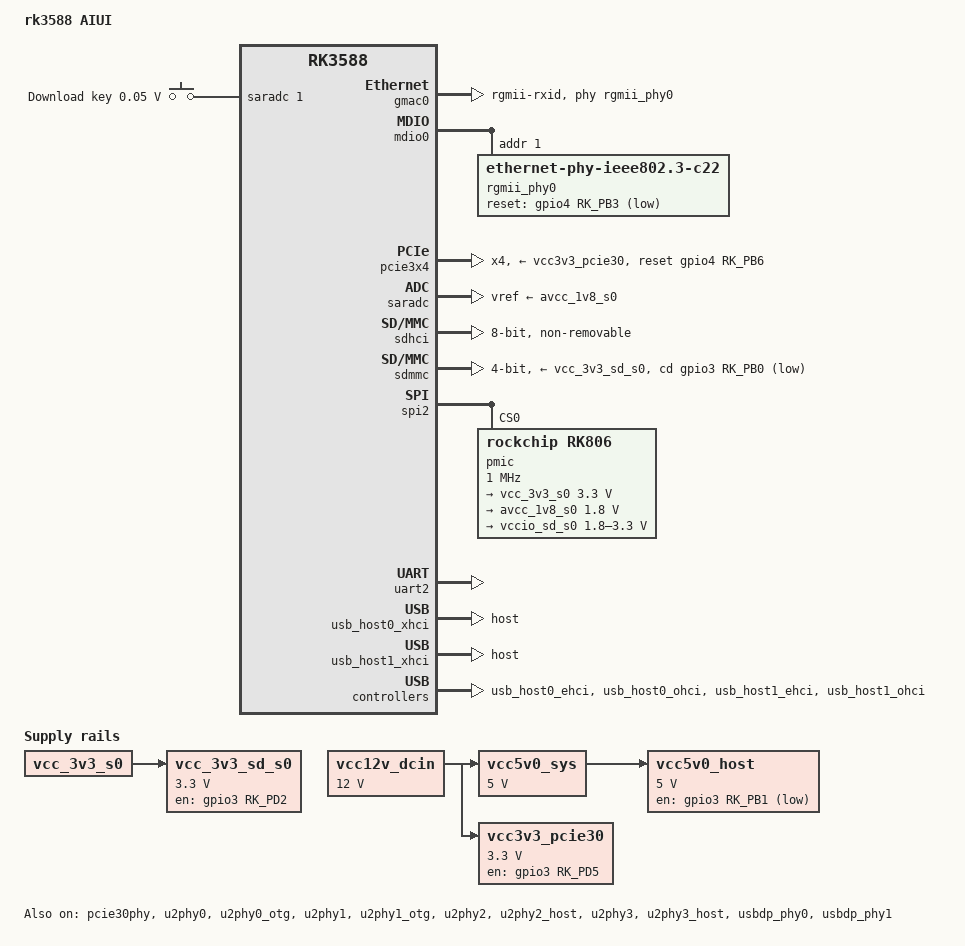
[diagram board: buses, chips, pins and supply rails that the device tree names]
// SPDX-License-Identifier: (GPL-2.0+ OR MIT)
/*
 * Board wiring translated from the factory LUNZN AIUI Android runtime DTB.
 * Boot-stage devices only; the OS loads its own complete board DTB.
 */
/dts-v1/;

#include <dt-bindings/gpio/gpio.h>
#include <dt-bindings/input/input.h>
#include <dt-bindings/pinctrl/rockchip.h>
#include "rk3588.dtsi"

/ {
	model = "rk3588 AIUI";
	compatible = "lunzn,aiui", "rockchip,rk3588";

	aliases {
		ethernet0 = &gmac0;
		mmc0 = &sdhci;
		mmc1 = &sdmmc;
	};

	chosen {
		stdout-path = "serial2:1500000n8";
	};

	adc-keys {
		compatible = "adc-keys";
		io-channels = <&saradc 1>;
		io-channel-names = "buttons";
		keyup-threshold-microvolt = <1800000>;
		poll-interval = <100>;

		download-key {
			label = "Download key";
			linux,code = <KEY_VOLUMEUP>;
			press-threshold-microvolt = <50000>;
		};
	};

	vcc12v_dcin: regulator-vcc12v-dcin {
		compatible = "regulator-fixed";
		regulator-name = "vcc12v_dcin";
		regulator-always-on;
		regulator-boot-on;
		regulator-min-microvolt = <12000000>;
		regulator-max-microvolt = <12000000>;
	};

	vcc5v0_sys: regulator-vcc5v0-sys {
		compatible = "regulator-fixed";
		regulator-name = "vcc5v0_sys";
		regulator-always-on;
		regulator-boot-on;
		regulator-min-microvolt = <5000000>;
		regulator-max-microvolt = <5000000>;
		vin-supply = <&vcc12v_dcin>;
	};

	vcc5v0_host: regulator-vcc5v0-host {
		compatible = "regulator-fixed";
		regulator-name = "vcc5v0_host";
		regulator-always-on;
		regulator-boot-on;
		regulator-min-microvolt = <5000000>;
		regulator-max-microvolt = <5000000>;
		gpio = <&gpio3 RK_PB1 GPIO_ACTIVE_LOW>;
		pinctrl-names = "default";
		pinctrl-0 = <&usb_host_power>;
		vin-supply = <&vcc5v0_sys>;
	};

	vcc3v3_pcie30: regulator-vcc3v3-pcie30 {
		compatible = "regulator-fixed";
		regulator-name = "vcc3v3_pcie30";
		regulator-min-microvolt = <3300000>;
		regulator-max-microvolt = <3300000>;
		enable-active-high;
		gpio = <&gpio3 RK_PD5 GPIO_ACTIVE_HIGH>;
		startup-delay-us = <7500>;
		vin-supply = <&vcc12v_dcin>;
	};

	vcc_3v3_sd_s0: regulator-vcc-3v3-sd-s0 {
		compatible = "regulator-fixed";
		regulator-name = "vcc_3v3_sd_s0";
		enable-active-high;
		gpio = <&gpio3 RK_PD2 GPIO_ACTIVE_HIGH>;
		regulator-min-microvolt = <3300000>;
		regulator-max-microvolt = <3300000>;
		vin-supply = <&vcc_3v3_s0>;
	};
};

&gmac0 {
	clock_in_out = "output";
	phy-handle = <&rgmii_phy0>;
	phy-mode = "rgmii-rxid";
	pinctrl-names = "default";
	pinctrl-0 = <&gmac0_miim &gmac0_tx_bus2 &gmac0_rx_bus2
		     &gmac0_rgmii_clk &gmac0_rgmii_bus>;
	tx_delay = <0x44>;
	status = "okay";
};

&mdio0 {
	rgmii_phy0: ethernet-phy@1 {
		compatible = "ethernet-phy-ieee802.3-c22";
		reg = <1>;
		reset-gpios = <&gpio4 RK_PB3 GPIO_ACTIVE_LOW>;
		reset-assert-us = <20000>;
		reset-deassert-us = <100000>;
	};
};

&pcie30phy {
	status = "okay";
};

&pcie3x4 {
	num-lanes = <4>;
	reset-gpios = <&gpio4 RK_PB6 GPIO_ACTIVE_HIGH>;
	vpcie3v3-supply = <&vcc3v3_pcie30>;
	status = "okay";
};

&pinctrl {
	usb {
		usb_host_power: usb-host-power {
			rockchip,pins = <3 RK_PB1 RK_FUNC_GPIO &pcfg_pull_none>;
		};
	};
};

&saradc {
	vref-supply = <&avcc_1v8_s0>;
	status = "okay";
};

&sdhci {
	/delete-property/ supports-cqe;
	bus-width = <8>;
	mmc-hs400-1_8v;
	mmc-hs400-enhanced-strobe;
	non-removable;
	status = "okay";
};

&sdmmc {
	bus-width = <4>;
	cap-sd-highspeed;
	cd-gpios = <&gpio3 RK_PB0 GPIO_ACTIVE_LOW>;
	disable-wp;
	no-mmc;
	no-sdio;
	pinctrl-names = "default";
	pinctrl-0 = <&sdmmc_bus4 &sdmmc_clk &sdmmc_cmd>;
	sd-uhs-sdr104;
	vmmc-supply = <&vcc_3v3_sd_s0>;
	vqmmc-supply = <&vccio_sd_s0>;
	status = "okay";
};

/*
 * Preserve firmware-established CPU/DDR rails. Only regulators needed by
 * boot peripherals are described here.
 */
&spi2 {
	status = "okay";
	pinctrl-names = "default";
	pinctrl-0 = <&spi2m2_cs0 &spi2m2_pins>;

	pmic@0 {
		compatible = "rockchip,rk806";
		reg = <0>;
		spi-max-frequency = <1000000>;

		regulators {
			vcc_3v3_s0: pldo-reg4 {
				regulator-name = "vcc_3v3_s0";
				regulator-always-on;
				regulator-boot-on;
				regulator-min-microvolt = <3300000>;
				regulator-max-microvolt = <3300000>;
			};

			avcc_1v8_s0: pldo-reg1 {
				regulator-name = "avcc_1v8_s0";
				regulator-always-on;
				regulator-boot-on;
				regulator-min-microvolt = <1800000>;
				regulator-max-microvolt = <1800000>;
			};

			vccio_sd_s0: pldo-reg5 {
				regulator-name = "vccio_sd_s0";
				regulator-min-microvolt = <1800000>;
				regulator-max-microvolt = <3300000>;
			};
		};
	};
};

&uart2 {
	pinctrl-names = "default";
	pinctrl-0 = <&uart2m0_xfer>;
	status = "okay";
};

&u2phy0 { status = "okay"; };
&u2phy0_otg { status = "okay"; };
&u2phy1 { status = "okay"; };
&u2phy1_otg {
	phy-supply = <&vcc5v0_host>;
	status = "okay";
};
&u2phy2 { status = "okay"; };
&u2phy2_host {
	phy-supply = <&vcc5v0_host>;
	status = "okay";
};
&u2phy3 { status = "okay"; };
&u2phy3_host {
	phy-supply = <&vcc5v0_host>;
	status = "okay";
};

&usbdp_phy0 { status = "okay"; };
&usbdp_phy1 { status = "okay"; };
&usb_host0_xhci {
	dr_mode = "host";
	status = "okay";
};
&usb_host1_xhci {
	dr_mode = "host";
	status = "okay";
};
&usb_host0_ehci { status = "okay"; };
&usb_host0_ohci { status = "okay"; };
&usb_host1_ehci { status = "okay"; };
&usb_host1_ohci { status = "okay"; };
